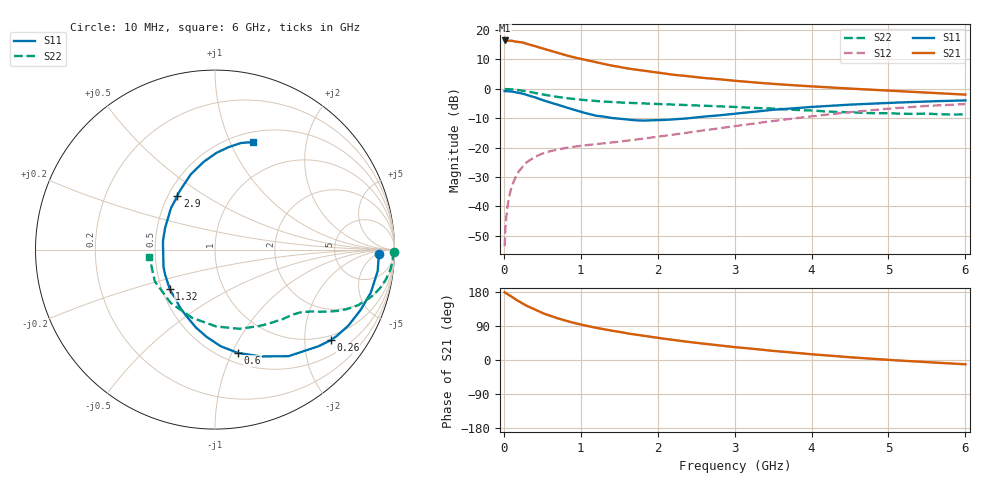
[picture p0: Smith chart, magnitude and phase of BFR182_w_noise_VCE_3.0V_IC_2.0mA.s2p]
! Infineon Technologies  Discrete & RF Semiconductors
! BFR182
! VCE =  3.0 V,  IC =  2.0 mA
! Common Emitter S-Parameters:  Nov 2015
# GHz  S  MA  R  50
!  f  S11  S21  S12  S22
! GHz  MAG  ANG  MAG  ANG  MAG  ANG  MAG  ANG
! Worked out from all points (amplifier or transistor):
!   210 points, 10 MHz to 6 GHz, reference 50 ohm
!   highest |S21| = 16.5 dB at 10 MHz (marker M1)
!   |S21| within 3 dB of that: start of sweep to 543.5 MHz
!   unconditionally stable (mu >= 1): 1.468 GHz to 3.116 GHz
!   at 185 MHz: K = 0.18, MSG = 22.3 dB, |S12| = -28.5 dB
!   at 1.52 GHz: K = 1.02, MAG = 11.9 dB, |S12| = -17.9 dB
!   at 6 GHz: K = 0.90, MSG = 1.6 dB, |S12| = -5.2 dB
!   lowest NFmin = 1.10 dB at 450 MHz
!   S11 on the Smith chart (normalised r, x): 10 MHz: 20, -6; 260 MHz: 0.86, -2.65; 600 MHz: 0.60, -1.05; 1.32 GHz: 0.55, -0.27; 2.9 GHz: 0.56, +0.39; 6 GHz: 0.61, +1.23
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0.01  0.9144 -1.6  6.67 178.9  0.0021 89.5  0.9966 -0.7
0.02  0.9127 -3.0  6.534 177.3  0.0041 88.6  0.9901 -1.3
0.035  0.9128 -5.3  6.553 175.4  0.0072 85.7  0.991 -2.3
0.085  0.903 -13.0  6.592 169.2  0.0179 82.2  0.9862 -5.5
0.1  0.9007 -15.4  6.609 167.3  0.0211 81.7  0.9841 -6.4
0.15  0.8786 -22.4  6.379 160.2  0.0309 76.9  0.9683 -9.6
0.2  0.8556 -29.6  6.298 154.3  0.0402 73.4  0.9503 -12.4
0.26  0.8188 -38.1  6.08 147.1  0.0499 68.9  0.9218 -15.5
0.4  0.7216 -55.4  5.372 133.5  0.0691 61.0  0.856 -21.2
0.5  0.6475 -66.8  4.905 123.9  0.0791 56.7  0.8071 -24.2
0.6  0.589 -77.6  4.505 116.6  0.0865 53.4  0.7628 -26.6
0.7  0.5394 -86.6  4.106 110.0  0.0929 51.3  0.7276 -28.3
0.8  0.4889 -95.4  3.749 104.0  0.0984 49.6  0.6998 -29.6
1.02  0.3997 -114.2  3.199 92.7  0.108 48.1  0.6508 -32.0
1.32  0.3334 -139.4  2.621 80.5  0.1194 48.9  0.606 -34.9
1.6  0.3026 -161.6  2.236 70.4  0.1313 50.6  0.5798 -37.7
2.02  0.2943 168.3  1.874 57.8  0.1545 53.7  0.5518 -42.7
2.9  0.3657 125.0  1.415 36.3  0.223 55.9  0.4982 -57.7
3.1  0.389 118.7  1.339 32.2  0.2422 55.3  0.4844 -62.2
4.1  0.5012 95.6  1.083 13.6  0.3527 48.2  0.4192 -92.8
5.1  0.5831 81.0  0.921 -0.9  0.4697 35.5  0.3802 -134.0
6  0.6361 70.4  0.798 -11.3  0.5514 21.0  0.3681 -173.9
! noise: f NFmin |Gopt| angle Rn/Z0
0.45  1.1  0.42  29  0.36
0.9  1.2  0.4  58  0.3
1.8  1.85  0.32  126  0.22
